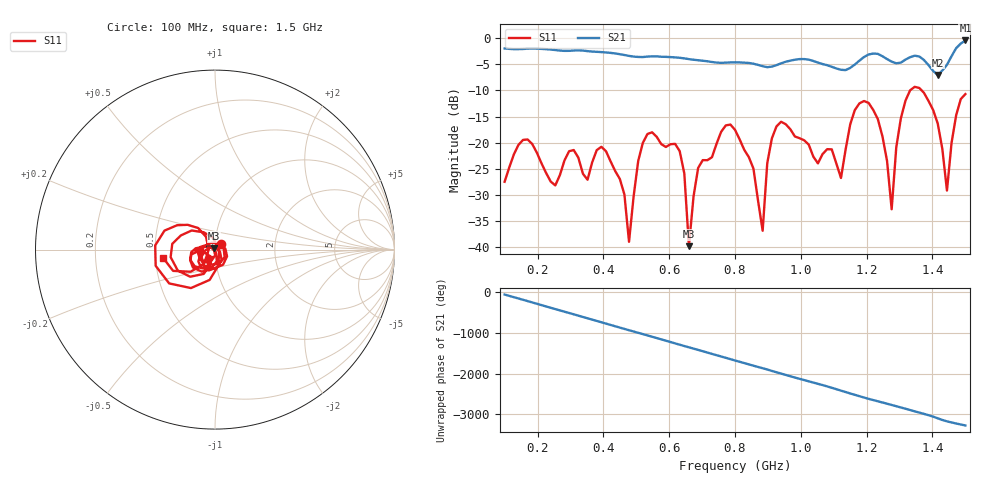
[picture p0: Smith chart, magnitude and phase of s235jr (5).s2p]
! NanoVNA-App
! Date: 2025-09-25 15:04:12
! Start: 100MHz Stop: 1,5GHz Points: 101
! S-Parameter data: F S11 S21 S12 S22
# Hz S RI R 50
!  Frequency  S11_Real  S11_Imag  S21_Real  S21_Imag  S12_Real  S12_Imag  S22_Real  S22_Imag
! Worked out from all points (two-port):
!   101 points, 100 MHz to 1.5 GHz, reference 50 ohm
!   highest |S21| = -0.42 dB at 1.5 GHz (marker M1); lowest = -7.0 dB at 1.416 GHz (marker M2)
!   |S21| within 3 dB of the highest: start of sweep to 482.5 MHz; 1.197 GHz to 1.247 GHz (50.43 MHz wide, 4.13 % of centre) (the widest 2 of 4)
!   lowest |S11| = -39.8 dB at 660 MHz (marker M3), VSWR 1.02, Z = 49.2 + j0.619 ohm
!   |S11| at or under -10 dB: start of sweep to 1.332 GHz; 1.367 GHz to end of sweep
!   S12 and S22 are empty: the file has one direction only
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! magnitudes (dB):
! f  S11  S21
! 100 MHz  -27.5  -2.0
! 156 MHz  -19.5  -2.1
! 338 MHz  -26.0  -2.4
! 408 MHz  -21.6  -2.7
! 478 MHz  -39.0  -3.4
! 520 MHz  -20.0  -3.6
! 576 MHz  -20.3  -3.5
! 632 MHz  -21.6  -3.7
! 660 MHz  -39.8  -4.0
! 688 MHz  -24.8  -4.2
! 800 MHz  -17.5  -4.6
! 884 MHz  -36.9  -5.3
! 898 MHz  -23.9  -5.5
! 926 MHz  -16.9  -5.2
! 1.038 GHz  -22.7  -4.4
! 1.122 GHz  -26.8  -6.0
! 1.206 GHz  -12.4  -3.1
! 1.276 GHz  -32.7  -4.5
! 1.332 GHz  -10.0  -3.6
! 1.416 GHz  -16.3  -7.0
! 1.444 GHz  -29.2  -5.1
! 1.5 GHz  -10.7  -0.4
